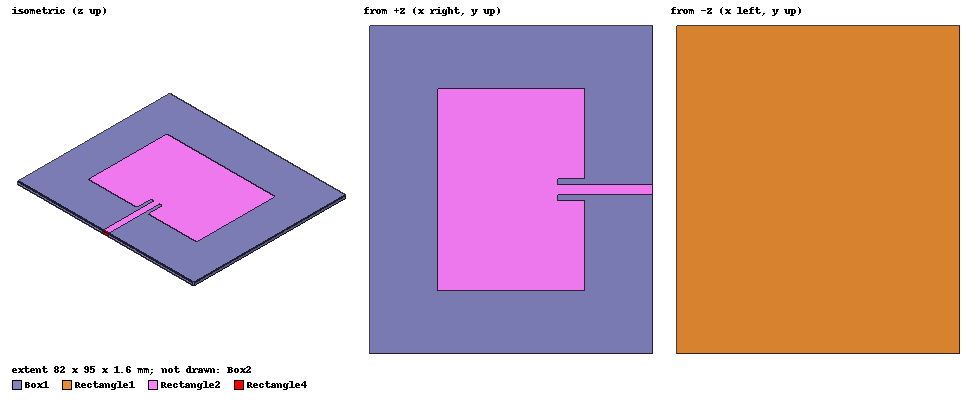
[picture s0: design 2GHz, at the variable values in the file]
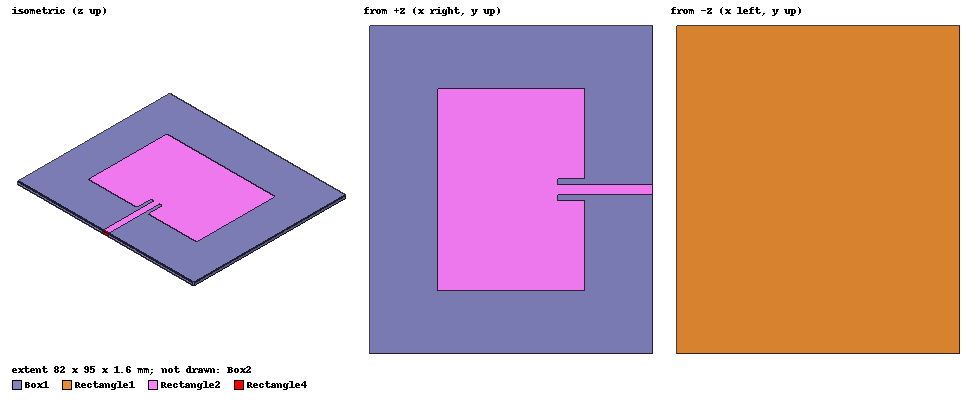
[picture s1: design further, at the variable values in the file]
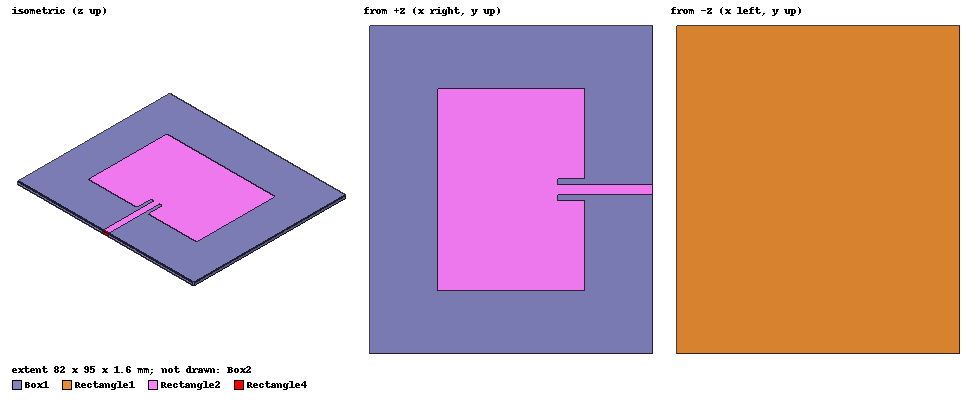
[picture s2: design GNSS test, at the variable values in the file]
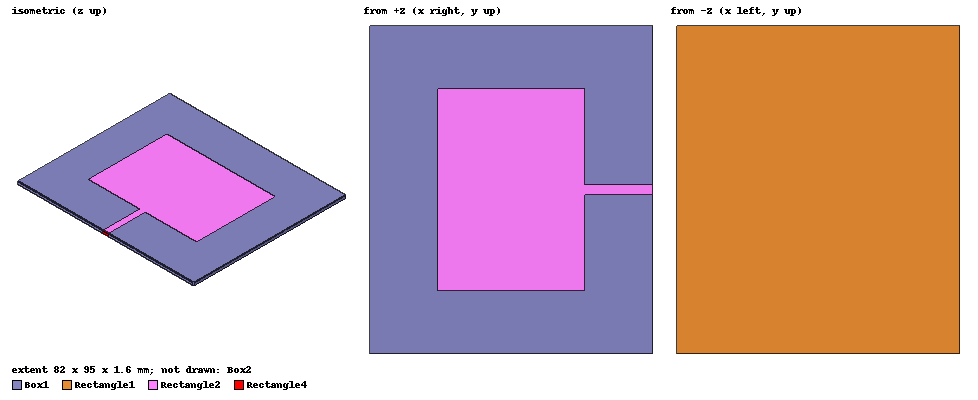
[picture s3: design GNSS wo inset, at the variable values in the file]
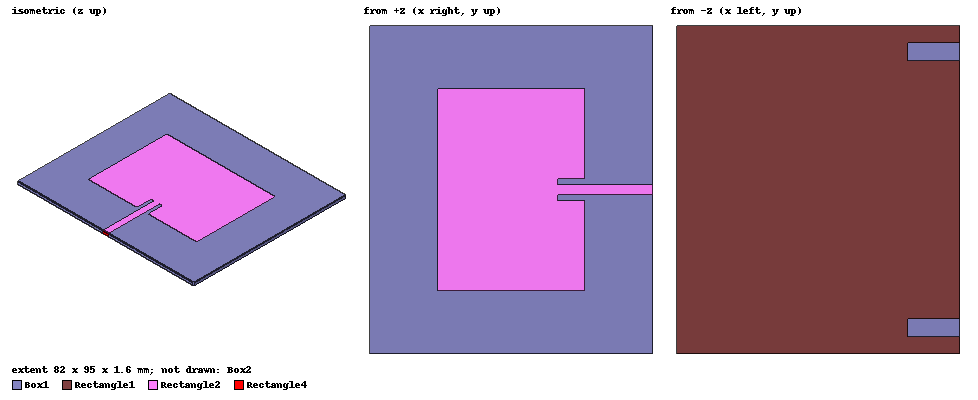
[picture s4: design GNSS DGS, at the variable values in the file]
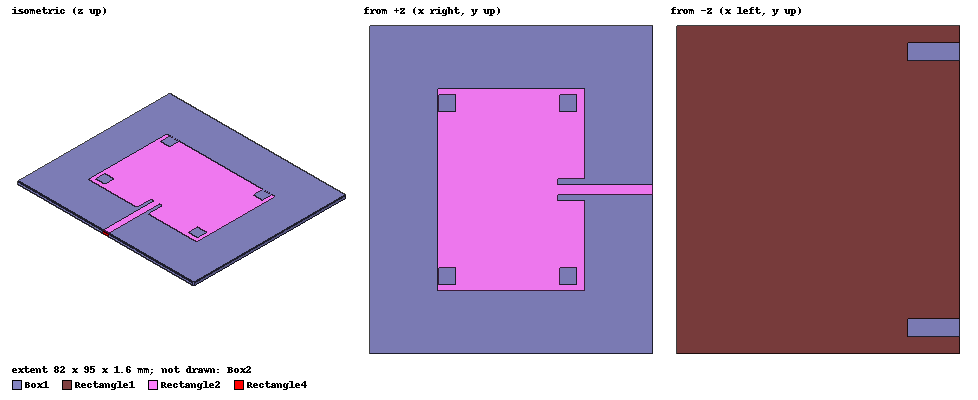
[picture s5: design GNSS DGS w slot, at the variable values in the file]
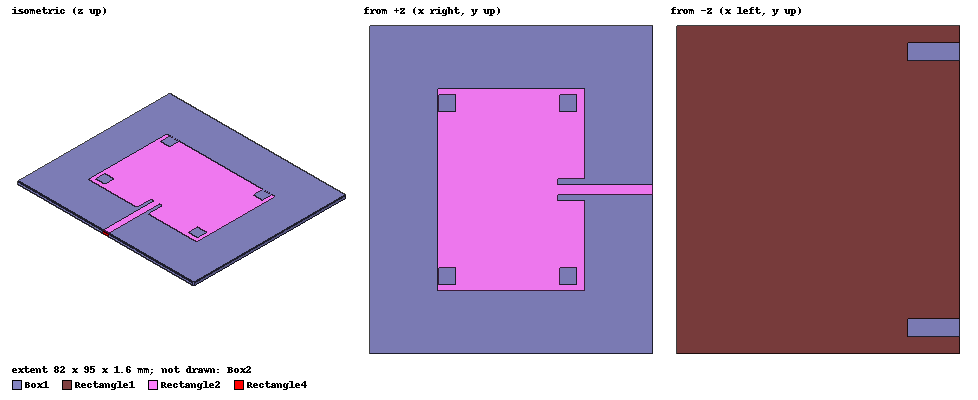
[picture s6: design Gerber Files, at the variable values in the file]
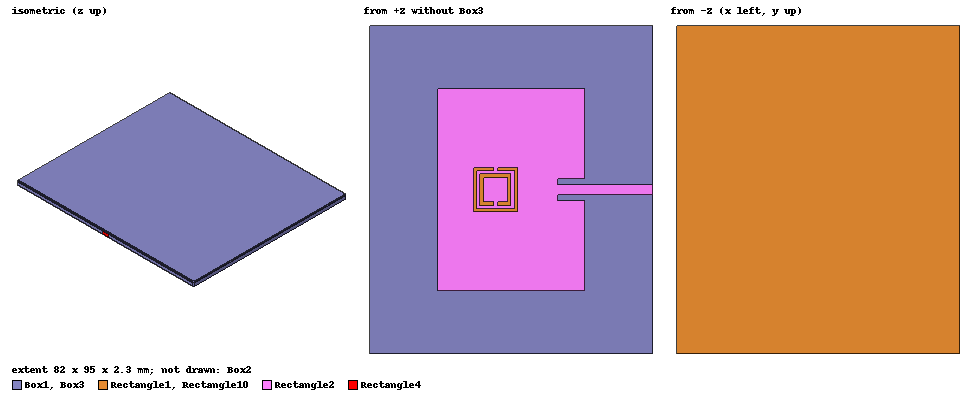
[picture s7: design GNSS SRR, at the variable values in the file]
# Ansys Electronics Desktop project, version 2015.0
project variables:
  $L = 82mm
  $W = 95mm
  $F = 3mm
  $P_l = 58.5mm
  $P_w = 42.4mm
  $Cw = 6.11mm
  $Cl = 14mm
  $RR = 2.3mm
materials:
  vacuum: permittivity=1
  FR4_epoxy: permittivity=4.4 dielectric_loss_tangent=0.02

design 2GHz (HFSS, DrivenModal, model units mm)
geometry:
  Rectangle1 = rectangle(corner=(0mm, 0mm, 0mm), x_size=$L, y_size=$W)
  Box1 [FR4_epoxy] = box(corner=(0mm, 0mm, 0mm), size=($L, $W, 1.6mm))
  Rectangle2 = rectangle(corner=(($L-$P_w)/2, ($W-$P_l)/2, 1.6mm), x_size=$P_w, y_size=$P_l)
  Rectangle3 = rectangle(corner=($L/2, $W/2-($F/2), 1.6mm), x_size=$L/2, y_size=$F)
  Rectangle4 = rectangle(corner=($L, $W/2-($F/2), 1.6mm), y_size=$F, z_size=-1.6mm)
  Box2 [vacuum] = box(corner=(-10mm, -10mm, -10mm), size=(85mm, 85mm, 20mm))
  Rectangle5 = rectangle(corner=((1.5*$L-$Cl)/2, ($W-$Cw)/2, 1.6mm), x_size=$Cl, y_size=$Cw)
  Rectangle2.subtract(Rectangle5)
  Rectangle2.unite(Rectangle3)
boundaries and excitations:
  PerfE1: Perfect E Objects=Rectangle1
  Rad1: Radiation Objects=Box2
  PerfE2: Perfect E Objects=Rectangle2
  1: Lumped Port Objects=Rectangle4 Modes{Mode1{IntLine{middle of Rectangle4.edge(z opposite corner) -> middle of Rectangle4.edge(z at corner)} CharImp=Zpi}} FullResistance=50ohm FullReactance=0ohm
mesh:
  initial mesh: GlobalSurfApproximation{SurfDevChoice=0 NormalDevChoice=1 AspectRatioChoice=1 SetFacePreservationLevel=0}
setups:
  Setup1: HfssDriven Frequency=3.5GHz MaxDeltaS=0.02 MaximumPasses=20 MinimumPasses=1 MinimumConvergedPasses=1 PercentRefinement=30 BasisOrder=1 PortAccuracy=2
    sweep Sweep: 1GHz to 5GHz, 301 points; Type=Fast SaveFields
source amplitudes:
  1:1: 1W 0deg
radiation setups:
  Infinite Sphere1: Infinite Sphere Theta=0deg..180deg step 10deg Phi=0deg..360deg step 10deg
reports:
  XY Plot 1: dB(S(1,1)) vs Freq on Setup1 : Sweep; markers m1 at 2GHz, m2 at 3.16GHz, m3 at 4GHz
  XY Plot 2: dB(GainTotal) vs Freq on Setup1 : Sweep, Infinite Sphere1 [Phi=0deg Theta=0deg]; markers m1 at 2.0133333GHz, m2 at 1.9733333GHz

design further (HFSS, DrivenModal, model units mm)
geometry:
  Rectangle1 = rectangle(corner=(0mm, 0mm, 0mm), x_size=$L, y_size=$W)
  Box1 [FR4_epoxy] = box(corner=(0mm, 0mm, 0mm), size=($L, $W, 1.6mm))
  Rectangle2 = rectangle(corner=(($L-$P_w)/2, ($W-$P_l)/2, 1.6mm), x_size=$P_w, y_size=$P_l)
  Rectangle3 = rectangle(corner=($L/2, $W/2-($F/2), 1.6mm), x_size=$L/2, y_size=$F)
  Rectangle4 = rectangle(corner=($L, $W/2-($F/2), 1.6mm), y_size=$F, z_size=-1.6mm)
  Box2 [vacuum] = box(corner=(-10mm, -10mm, -10mm), size=(70mm, 70mm, 20mm))
  Rectangle5 = rectangle(corner=((1.5*$L-$Cl)/2, ($W-$Cw)/2, 1.6mm), x_size=$Cl, y_size=$Cw)
  Rectangle2.subtract(Rectangle5)
  Rectangle2.unite(Rectangle3)
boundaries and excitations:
  PerfE1: Perfect E Objects=Rectangle1
  Rad1: Radiation Objects=Box2
  PerfE2: Perfect E Objects=Rectangle2
  1: Lumped Port Objects=Rectangle4 Modes{Mode1{IntLine{middle of Rectangle4.edge(z opposite corner) -> middle of Rectangle4.edge(z at corner)} CharImp=Zpi}} FullResistance=50ohm FullReactance=0ohm
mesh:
  initial mesh: GlobalSurfApproximation{SurfDevChoice=0 NormalDevChoice=1 AspectRatioChoice=1 SetFacePreservationLevel=0}
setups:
  Setup1: HfssDriven Frequency=3.5GHz MaxDeltaS=0.02 MaximumPasses=20 MinimumPasses=1 MinimumConvergedPasses=1 PercentRefinement=30 BasisOrder=1 PortAccuracy=2
    sweep Sweep: 1GHz to 5GHz, 301 points; Type=Fast SaveFields
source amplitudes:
  1:1: 1W 0deg
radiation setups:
  Infinite Sphere1: Infinite Sphere Theta=0deg..180deg step 10deg Phi=0deg..360deg step 10deg
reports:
  XY Plot 1: dB(S(1,1)) vs Freq on Setup1 : Sweep
  3D Rectangular Plot 1: dB(GainTotal) vs Theta, Phi on Setup1 : Sweep, Infinite Sphere1 [Freq=2.38667GHz]
  3D Rectangular Plot 2: dB(GainTotal) vs Theta, Phi on Setup1 : Sweep, Infinite Sphere1 [Freq=3.42667GHz]
  XY Plot 2: dB(GainTotal) vs Freq on Setup1 : Sweep, Infinite Sphere1 [Phi=0deg Theta=0deg $F=3mm]; markers m1 at 2.4GHz

design GNSS test (HFSS, DrivenModal, model units mm)
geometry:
  Rectangle1 = rectangle(corner=(0mm, 0mm, 0mm), x_size=$L, y_size=$W)
  Box1 [FR4_epoxy] = box(corner=(0mm, 0mm, 0mm), size=($L, $W, 1.6mm))
  Rectangle2 = rectangle(corner=(($L-$P_w)/2, ($W-$P_l)/2, 1.6mm), x_size=$P_w, y_size=$P_l)
  Rectangle3 = rectangle(corner=($L/2, $W/2-($F/2), 1.6mm), x_size=$L/2, y_size=$F)
  Rectangle4 = rectangle(corner=($L, $W/2-($F/2), 1.6mm), y_size=$F, z_size=-1.6mm)
  Box2 [vacuum] = box(corner=(-20mm, -20mm, -20mm), size=(120mm, 135mm, 40mm))
  Rectangle5 = rectangle(corner=((1.5*$L-$Cl)/2, ($W-$Cw)/2, 1.6mm), x_size=$Cl, y_size=$Cw)
  Rectangle2.subtract(Rectangle5)
  Rectangle2.unite(Rectangle3)
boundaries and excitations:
  PerfE1: Perfect E Objects=Rectangle1
  Rad1: Radiation Objects=Box2
  PerfE2: Perfect E Objects=Rectangle2
  1: Lumped Port Objects=Rectangle4 Modes{Mode1{IntLine{middle of Rectangle4.edge(z opposite corner) -> middle of Rectangle4.edge(z at corner)} CharImp=Zpi}} FullResistance=50ohm FullReactance=0ohm
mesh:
  initial mesh: GlobalSurfApproximation{SurfDevChoice=0 NormalDevChoice=1 AspectRatioChoice=1 SetFacePreservationLevel=0}
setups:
  Setup1: HfssDriven Frequency=3.5GHz MaxDeltaS=0.02 MaximumPasses=20 MinimumPasses=1 MinimumConvergedPasses=1 PercentRefinement=30 BasisOrder=1 PortAccuracy=2
    sweep Sweep: 1GHz to 2GHz, 301 points; Type=Fast SaveFields
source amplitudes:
  1:1: 1W 0deg
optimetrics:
  ParametricSetup1: Parametric Sim._Setups=[Setup1]
    sweep $P_w: LIN 43.7mm 43.9mm 0.04mm
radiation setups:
  Infinite Sphere1: Infinite Sphere Theta=0deg..180deg step 10deg Phi=0deg..360deg step 10deg
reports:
  XY Plot 1: dB(S(1,1)) vs Freq on Setup1 : Sweep [$P_w=all]

design GNSS wo inset (HFSS, DrivenModal, model units mm)
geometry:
  Rectangle1 = rectangle(corner=(0mm, 0mm, 0mm), x_size=$L, y_size=$W)
  Box1 [FR4_epoxy] = box(corner=(0mm, 0mm, 0mm), size=($L, $W, 1.6mm))
  Rectangle2 = rectangle(corner=(($L-$P_w)/2, ($W-$P_l)/2, 1.6mm), x_size=$P_w, y_size=$P_l)
  Rectangle3 = rectangle(corner=($L/2, $W/2-($F/2), 1.6mm), x_size=$L/2, y_size=$F)
  Rectangle4 = rectangle(corner=($L, $W/2-($F/2), 1.6mm), y_size=$F, z_size=-1.6mm)
  Box2 [vacuum] = box(corner=(-20mm, -20mm, -20mm), size=(120mm, 135mm, 40mm))
  Rectangle2.unite(Rectangle3)
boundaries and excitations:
  PerfE1: Perfect E Objects=Rectangle1
  Rad1: Radiation Objects=Box2
  PerfE2: Perfect E Objects=Rectangle2
  1: Lumped Port Objects=Rectangle4 Modes{Mode1{IntLine{middle of Rectangle4.edge(z opposite corner) -> middle of Rectangle4.edge(z at corner)} CharImp=Zpi}} FullResistance=50ohm FullReactance=0ohm
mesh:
  initial mesh: GlobalSurfApproximation{SurfDevChoice=0 NormalDevChoice=1 AspectRatioChoice=1 SetFacePreservationLevel=0}
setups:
  Setup1: HfssDriven Frequency=3.5GHz MaxDeltaS=0.02 MaximumPasses=20 MinimumPasses=1 MinimumConvergedPasses=1 PercentRefinement=30 BasisOrder=1 PortAccuracy=2
    sweep Sweep: 1GHz to 5GHz, 301 points; Type=Fast SaveFields
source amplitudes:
  1:1: 1W 0deg
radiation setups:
  Infinite Sphere1: Infinite Sphere Theta=0deg..180deg step 10deg Phi=0deg..360deg step 10deg
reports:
  XY Plot 1: dB(S(1,1)) vs Freq on Setup1 : Sweep; markers m1 at 1.5466667GHz, m2 at 2.3733333GHz
  3D Rectangular Plot 1: dB(GainTotal) vs Theta, Phi on Setup1 : Sweep, Infinite Sphere1 [Freq=1.54667GHz]

design GNSS DGS (HFSS, DrivenModal, model units mm)
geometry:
  Rectangle1 = rectangle(corner=(0mm, 0mm, 0mm), x_size=$L, y_size=$W)
  Box1 [FR4_epoxy] = box(corner=(0mm, 0mm, 0mm), size=($L, $W, 1.6mm))
  Rectangle2 = rectangle(corner=(($L-$P_w)/2, ($W-$P_l)/2, 1.6mm), x_size=$P_w, y_size=$P_l)
  Rectangle3 = rectangle(corner=($L/2, $W/2-($F/2), 1.6mm), x_size=$L/2, y_size=$F)
  Rectangle4 = rectangle(corner=($L, $W/2-($F/2), 1.6mm), y_size=$F, z_size=-1.6mm)
  Box2 [vacuum] = box(corner=(-20mm, -20mm, -20mm), size=(120mm, 135mm, 40mm))
  Rectangle5 = rectangle(corner=((1.5*$L-$Cl)/2, ($W-$Cw)/2, 1.6mm), x_size=$Cl, y_size=$Cw)
  Rectangle2.subtract(Rectangle5)
  Rectangle2.unite(Rectangle3)
  Rectangle7 = rectangle(corner=(15mm, 85mm, 0mm), x_size=-15mm, y_size=5mm)
  Rectangle8 = rectangle(corner=(15mm, 5mm, 0mm), x_size=-15mm, y_size=5mm)
  Rectangle1.subtract(Rectangle7, Rectangle8)
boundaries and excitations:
  PerfE1: Perfect E Objects=Rectangle1
  Rad1: Radiation Objects=Box2
  PerfE2: Perfect E Objects=Rectangle2
  1: Lumped Port Objects=Rectangle4 Modes{Mode1{IntLine{middle of Rectangle4.edge(z opposite corner) -> middle of Rectangle4.edge(z at corner)} CharImp=Zpi}} FullResistance=50ohm FullReactance=0ohm
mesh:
  initial mesh: GlobalSurfApproximation{SurfDevChoice=0 NormalDevChoice=1 AspectRatioChoice=1 SetFacePreservationLevel=0}
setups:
  Setup1: HfssDriven Frequency=3.5GHz MaxDeltaS=0.02 MaximumPasses=20 MinimumPasses=1 MinimumConvergedPasses=1 PercentRefinement=30 BasisOrder=1 PortAccuracy=2
    sweep Sweep: 1GHz to 2GHz, 301 points; Type=Fast SaveFields
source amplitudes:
  1:1: 1W 0deg
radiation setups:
  Infinite Sphere1: Infinite Sphere Theta=0deg..180deg step 10deg Phi=0deg..360deg step 10deg
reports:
  XY Plot 1: dB(S(1,1)) vs Freq on Setup1 : Sweep; markers m1 at 1.5466667GHz

design GNSS DGS w slot (HFSS, DrivenModal, model units mm)
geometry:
  Rectangle1 = rectangle(corner=(0mm, 0mm, 0mm), x_size=$L, y_size=$W)
  Box1 [FR4_epoxy] = box(corner=(0mm, 0mm, 0mm), size=($L, $W, 1.6mm))
  Rectangle2 = rectangle(corner=(($L-$P_w)/2, ($W-$P_l)/2, 1.6mm), x_size=$P_w, y_size=$P_l)
  Rectangle3 = rectangle(corner=($L/2, $W/2-($F/2), 1.6mm), x_size=$L/2, y_size=$F)
  Rectangle4 = rectangle(corner=($L, $W/2-($F/2), 1.6mm), y_size=$F, z_size=-1.6mm)
  Box2 [vacuum] = box(corner=(-20mm, -20mm, -20mm), size=(120mm, 135mm, 40mm))
  Rectangle5 = rectangle(corner=((1.5*$L-$Cl)/2, ($W-$Cw)/2, 1.6mm), x_size=$Cl, y_size=$Cw)
  Rectangle2.subtract(Rectangle5)
  Rectangle2.unite(Rectangle3)
  Rectangle7 = rectangle(corner=(15mm, 85mm, 0mm), x_size=-15mm, y_size=5mm)
  Rectangle8 = rectangle(corner=(15mm, 5mm, 0mm), x_size=-15mm, y_size=5mm)
  Rectangle1.subtract(Rectangle7, Rectangle8)
  Rectangle10 = rectangle(corner=(20mm, 20mm, 1.6mm), x_size=5mm, y_size=5mm)
  Rectangle12 = rectangle(corner=(55mm, 20mm, 1.6mm), x_size=5mm, y_size=5mm)
  Rectangle13 = rectangle(corner=(55mm, 75mm, 1.6mm), x_size=5mm, y_size=-5mm)
  Rectangle14 = rectangle(corner=(20mm, 75mm, 1.6mm), x_size=5mm, y_size=-5mm)
  Rectangle2.subtract(Rectangle10, Rectangle12, Rectangle13, Rectangle14)
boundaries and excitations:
  PerfE1: Perfect E Objects=Rectangle1
  Rad1: Radiation Objects=Box2
  PerfE2: Perfect E Objects=Rectangle2
  1: Lumped Port Objects=Rectangle4 Modes{Mode1{IntLine{middle of Rectangle4.edge(z opposite corner) -> middle of Rectangle4.edge(z at corner)} CharImp=Zpi}} FullResistance=50ohm FullReactance=0ohm
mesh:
  initial mesh: GlobalSurfApproximation{SurfDevChoice=0 NormalDevChoice=1 AspectRatioChoice=1 SetFacePreservationLevel=0}
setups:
  Setup1: HfssDriven Frequency=3.5GHz MaxDeltaS=0.02 MaximumPasses=20 MinimumPasses=1 MinimumConvergedPasses=1 PercentRefinement=30 BasisOrder=1 PortAccuracy=2
    sweep Sweep: 1GHz to 2GHz, 301 points; Type=Fast SaveFields
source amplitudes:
  1:1: 1W 0deg
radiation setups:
  Infinite Sphere1: Infinite Sphere Theta=0deg..360deg step 3deg Phi=0deg..90deg step 90deg
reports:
  XY Plot 1: dB(S(1,1)) vs Freq on Setup1 : Sweep; markers m1 at 1.56GHz
  Radiation Pattern 3: dB(GainTotal) vs Theta on Setup1 : Sweep, Infinite Sphere1 [Phi=0deg,90deg Freq=1.56GHz]

design Gerber Files (HFSS, DrivenModal, model units mm)
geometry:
  Rectangle1 = rectangle(corner=(0mm, 0mm, 0mm), x_size=$L, y_size=$W)
  Box1 [FR4_epoxy] = box(corner=(0mm, 0mm, 0mm), size=($L, $W, 1.6mm))
  Rectangle2 = rectangle(corner=(($L-$P_w)/2, ($W-$P_l)/2, 1.6mm), x_size=$P_w, y_size=$P_l)
  Rectangle3 = rectangle(corner=($L/2, $W/2-($F/2), 1.6mm), x_size=$L/2, y_size=$F)
  Rectangle4 = rectangle(corner=($L, $W/2-($F/2), 1.6mm), y_size=$F, z_size=-1.6mm)
  Box2 [vacuum] = box(corner=(-20mm, -20mm, -20mm), size=(120mm, 135mm, 40mm))
  Rectangle5 = rectangle(corner=((1.5*$L-$Cl)/2, ($W-$Cw)/2, 1.6mm), x_size=$Cl, y_size=$Cw)
  Rectangle2.subtract(Rectangle5)
  Rectangle2.unite(Rectangle3)
  Rectangle7 = rectangle(corner=(15mm, 85mm, 0mm), x_size=-15mm, y_size=5mm)
  Rectangle8 = rectangle(corner=(15mm, 5mm, 0mm), x_size=-15mm, y_size=5mm)
  Rectangle1.subtract(Rectangle7, Rectangle8)
  Rectangle10 = rectangle(corner=(20mm, 20mm, 1.6mm), x_size=5mm, y_size=5mm)
  Rectangle12 = rectangle(corner=(55mm, 20mm, 1.6mm), x_size=5mm, y_size=5mm)
  Rectangle13 = rectangle(corner=(55mm, 75mm, 1.6mm), x_size=5mm, y_size=-5mm)
  Rectangle14 = rectangle(corner=(20mm, 75mm, 1.6mm), x_size=5mm, y_size=-5mm)
  Rectangle2.subtract(Rectangle10, Rectangle12, Rectangle13, Rectangle14)
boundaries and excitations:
  PerfE1: Perfect E Objects=Rectangle1
  Rad1: Radiation Objects=Box2
  PerfE2: Perfect E Objects=Rectangle2
  1: Lumped Port Objects=Rectangle4 Modes{Mode1{IntLine{middle of Rectangle4.edge(z opposite corner) -> middle of Rectangle4.edge(z at corner)} CharImp=Zpi}} FullResistance=50ohm FullReactance=0ohm
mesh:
  initial mesh: GlobalSurfApproximation{SurfDevChoice=0 NormalDevChoice=1 AspectRatioChoice=1 SetFacePreservationLevel=0}
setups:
  Setup1: HfssDriven Frequency=3.5GHz MaxDeltaS=0.02 MaximumPasses=20 MinimumPasses=1 MinimumConvergedPasses=1 PercentRefinement=30 BasisOrder=1 PortAccuracy=2
    sweep Sweep: 1GHz to 5GHz, 301 points; Type=Fast SaveFields
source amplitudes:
  1:1: 1W 0deg
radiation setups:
  Infinite Sphere1: Infinite Sphere Theta=0deg..180deg step 10deg Phi=0deg..360deg step 10deg
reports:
  XY Plot 1: dB(S(1,1)) vs Freq on Setup1 : Sweep; markers m1 at 1.56GHz, m2 at 2.3866667GHz, m3 at 2.9066667GHz, m4 at 3.0933333GHz
  3D Rectangular Plot 1: dB(GainTotal) vs Theta, Phi on Setup1 : Sweep, Infinite Sphere1 [Freq=1.56GHz]
  3D Rectangular Plot 2: dB(GainTotal) vs Theta, Phi on Setup1 : Sweep, Infinite Sphere1 [Freq=2.38667GHz]

design GNSS SRR (HFSS, DrivenModal, model units mm)
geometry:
  Rectangle1 = rectangle(corner=(0mm, 0mm, 0mm), x_size=$L, y_size=$W)
  Box1 [FR4_epoxy] = box(corner=(0mm, 0mm, 0mm), size=($L, $W, 1.6mm))
  Rectangle2 = rectangle(corner=(($L-$P_w)/2, ($W-$P_l)/2, 1.6mm), x_size=$P_w, y_size=$P_l)
  Rectangle3 = rectangle(corner=($L/2, $W/2-($F/2), 1.6mm), x_size=$L/2, y_size=$F)
  Rectangle4 = rectangle(corner=($L, $W/2-($F/2), 1.6mm), y_size=$F, z_size=-1.6mm)
  Box2 [vacuum] = box(corner=(-27.5mm, -27.5mm, -32.5mm), size=(135mm, 150mm, 65mm))
  Rectangle5 = rectangle(corner=((1.5*$L-$Cl)/2, ($W-$Cw)/2, 1.6mm), x_size=$Cl, y_size=$Cw)
  Rectangle2.subtract(Rectangle5)
  Rectangle2.unite(Rectangle3)
  Box3 [FR4_epoxy] = box(corner=(0mm, 0mm, 1.6mm), size=($L, $W, 0.7mm))
  Rectangle10 = rectangle(corner=(30mm, 41mm, 1.6mm), x_size=1mm, y_size=13mm)
  Rectangle12 = rectangle(corner=(31mm, 42mm, 1.6mm), x_size=12mm, y_size=-1mm)
  Rectangle13 = rectangle(corner=(42mm, 42mm, 1.6mm), x_size=1mm, y_size=12mm)
  Rectangle14 = rectangle(corner=(31mm, 53mm, 1.6mm), x_size=5mm, y_size=1mm)
  Rectangle15 = rectangle(corner=(37mm, 53mm, 1.6mm), x_size=5mm, y_size=1mm)
  Rectangle16 = rectangle(corner=(32mm, 43mm, 1.6mm), x_size=1mm, y_size=9mm)
  Rectangle17 = rectangle(corner=(33mm, 51mm, 1.6mm), x_size=8mm, y_size=1mm)
  Rectangle18 = rectangle(corner=(40mm, 43mm, 1.6mm), x_size=1mm, y_size=8mm)
  Rectangle19 = rectangle(corner=(33mm, 43mm, 1.6mm), x_size=3mm, y_size=1mm)
  Rectangle20 = rectangle(corner=(37mm, 43mm, 1.6mm), x_size=3mm, y_size=1mm)
  Rectangle10.unite(Rectangle12..Rectangle20)
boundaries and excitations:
  PerfE1: Perfect E Objects=Rectangle1
  Rad1: Radiation Objects=Box2
  PerfE2: Perfect E Objects=Rectangle2
  PerfE3: Perfect E Objects=Rectangle10
  1: Lumped Port Objects=Rectangle4 Modes{Mode1{IntLine{middle of Rectangle4.edge(z opposite corner) -> middle of Rectangle4.edge(z at corner)} CharImp=Zpi}} FullResistance=50ohm FullReactance=0ohm
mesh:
  initial mesh: GlobalSurfApproximation{SurfDevChoice=0 NormalDevChoice=1 AspectRatioChoice=1 SetFacePreservationLevel=0}
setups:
  Setup1: HfssDriven Frequency=3.5GHz MaxDeltaS=0.02 MaximumPasses=20 MinimumPasses=1 MinimumConvergedPasses=1 PercentRefinement=30 BasisOrder=1 PortAccuracy=2
    sweep Sweep: 1GHz to 2GHz, 301 points; Type=Fast SaveFields
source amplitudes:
  1:1: 1W 0deg
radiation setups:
  Infinite Sphere1: Infinite Sphere Theta=0deg..180deg step 10deg Phi=0deg..360deg step 10deg
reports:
  XY Plot 1: dB(S(1,1)) vs Freq on Setup1 : Sweep; markers m1 at 1.56GHz
  3D Polar Plot 1: dB(GainTotal) vs Phi, Theta on Setup1 : Sweep, Infinite Sphere1 [Freq=1.56GHz]
